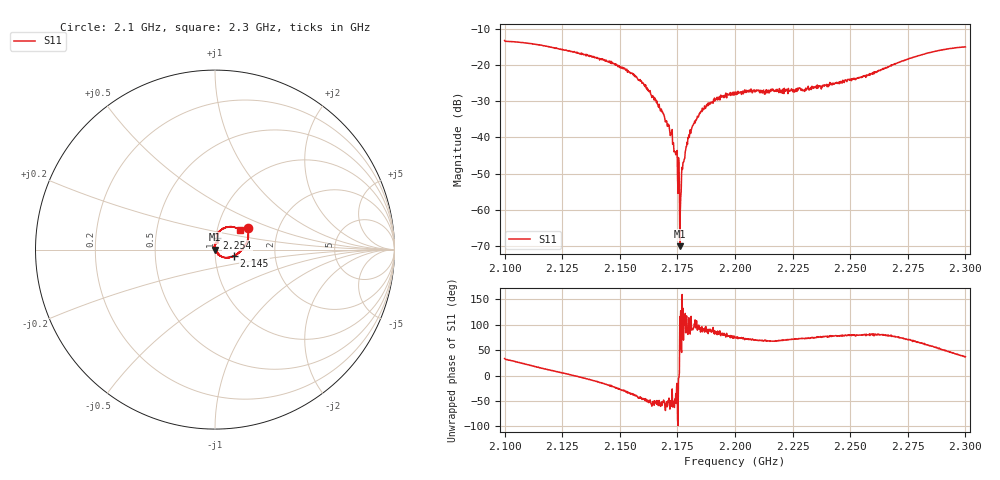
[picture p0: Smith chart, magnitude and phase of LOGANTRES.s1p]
!File created by NanoVNA
# Hz S RI R 50
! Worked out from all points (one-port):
!   1024 points, 2.1 GHz to 2.3 GHz, reference 50 ohm
!   lowest |S11| = -70.0 dB at 2.176 GHz (marker M1), VSWR 1.00, Z = 50 + j0.0282 ohm
!   |S11| at or under -10 dB: start of sweep to end of sweep
!   S11 on the Smith chart (normalised r, x): 2.1 GHz: 1.39, +0.35; 2.145 GHz: 1.23, -0.09; 2.254 GHz: 1.02, +0.14; 2.3 GHz: 1.29, +0.29
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2.1e9  0.1816 0.1201
2.125024e9  0.1642 0.0147
2.14477e9  0.1058 -0.0347
2.150049e9  0.0826 -0.042
2.159824e9  0.0401 -0.0409
2.168035e9  0.0151 -0.0194
2.172336e9  0.00543 -0.00957
2.174291e9  0.00467 -0.00334
2.174682e9  0.00548 -0.00201
2.174878e9  0.00636 -0.00173
2.175073e9  0.000158 -0.00275
2.17566e9  0.00446 -0.000331
2.176051e9  -0.000139 0.000282
2.177028e9  -0.00363 0.00136
2.177224e9  -0.000881 0.00353
2.17781e9  -0.00114 0.00455
2.17957e9  0.00153 0.00975
2.181525e9  -0.000137 0.0144
2.184457e9  -0.000475 0.021
2.191691e9  0.00434 0.0332
2.200098e9  0.0116 0.0408
2.206158e9  0.0143 0.0417
2.225122e9  0.0133 0.0405
2.250147e9  0.0114 0.0628
2.254448e9  0.0122 0.0665
2.275171e9  0.0402 0.1134
2.288465e9  0.095 0.1269
2.3e9  0.1411 0.1069
